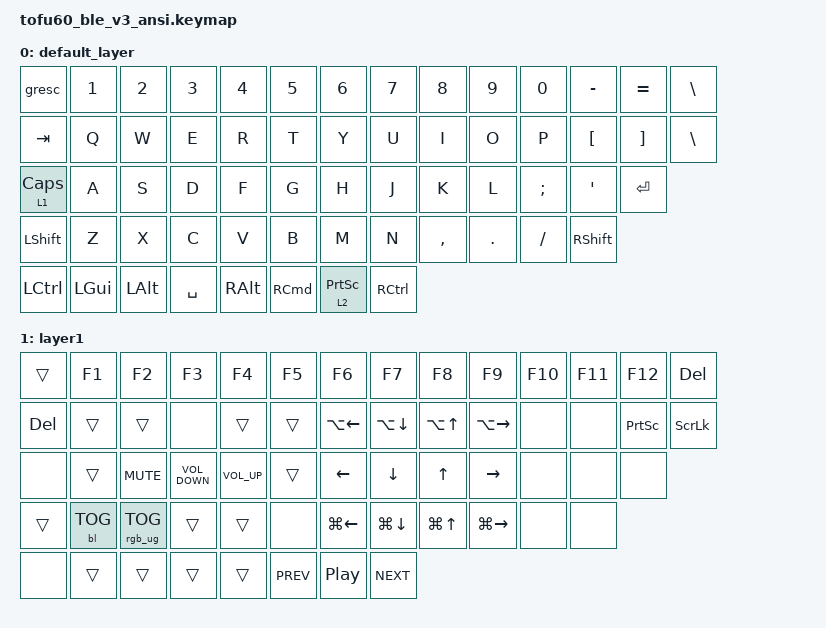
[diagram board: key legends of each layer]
#include <behaviors.dtsi>
#include <dt-bindings/zmk/backlight.h>
#include <dt-bindings/zmk/keys.h>
#include <dt-bindings/zmk/rgb.h>
#include "boards/shields/klink_kbd/common.keymap"

#define UF_RESET bootloader_reset 0 0
#define UF_BT1 device_bt1 0 0
#define UF_BT2 device_bt2 0 1
#define UF_BT3 device_bt3 0 2

/ {
    keymap {
        compatible = "zmk,keymap";

        default_layer {
            bindings = <
&gresc            &kp N1        &kp N2    &kp N3     &kp N4         &kp N5             &kp N6             &kp N7             &kp N8     &kp N9      &kp N0         &kp MINUS         &kp EQUAL          &kp BSLH
&kp TAB           &kp Q         &kp W     &kp E      &kp R          &kp T              &kp Y              &kp U              &kp I      &kp O       &kp P          &kp LEFT_BRACKET  &kp RIGHT_BRACKET  &kp BACKSLASH
&lt 1 CAPSLOCK    &kp A         &kp S     &kp D      &kp F          &kp G              &kp H              &kp J              &kp K      &kp L       &kp SEMICOLON  &kp SQT           &kp ENTER
&kp LEFT_SHIFT    &kp Z         &kp X     &kp C      &kp V          &kp B              &kp M              &kp N              &kp COMMA  &kp PERIOD  &kp SLASH      &kp RSHFT
&kp LEFT_CONTROL  &kp LEFT_GUI  &kp LALT  &kp SPACE  &kp RIGHT_ALT  &kp RIGHT_COMMAND  &lt 2 PRINTSCREEN  &kp RIGHT_CONTROL
            >;
        };

        layer1 {
            bindings = <
&trans      &kp F1      &kp F2           &kp F3             &kp F4        &kp F5      &kp F6            &kp F7          &kp F8            &kp F9         &kp F10  &kp F11  &kp F12          &kp DELETE
&kp DELETE  &trans      &trans           &none              &trans        &trans      &kp LA(LEFT)      &kp LA(DOWN)    &kp LA(UP_ARROW)  &kp LA(RIGHT)  &none    &none    &kp PRINTSCREEN  &kp SCROLLLOCK
&none       &trans      &kp K_MUTE       &kp C_VOLUME_DOWN  &kp C_VOL_UP  &trans      &kp LEFT_ARROW    &kp DOWN_ARROW  &kp UP_ARROW      &kp RIGHT      &none    &none    &none
&trans      &bl BL_TOG  &rgb_ug RGB_TOG  &trans             &trans        &none       &kp LG(LEFT)      &kp LG(DOWN)    &kp LG(UP_ARROW)  &kp LG(RIGHT)  &none    &none
&none       &trans      &trans           &trans             &trans        &kp C_PREV  &kp C_PLAY_PAUSE  &kp C_NEXT
            >;
        };

        layer2 { status = "reserved"; };

        layer3 { status = "reserved"; };

        layer4 { status = "reserved"; };

        layer5 { status = "reserved"; };

        layer6 { status = "reserved"; };

        layer7 { status = "reserved"; };
    };
};
